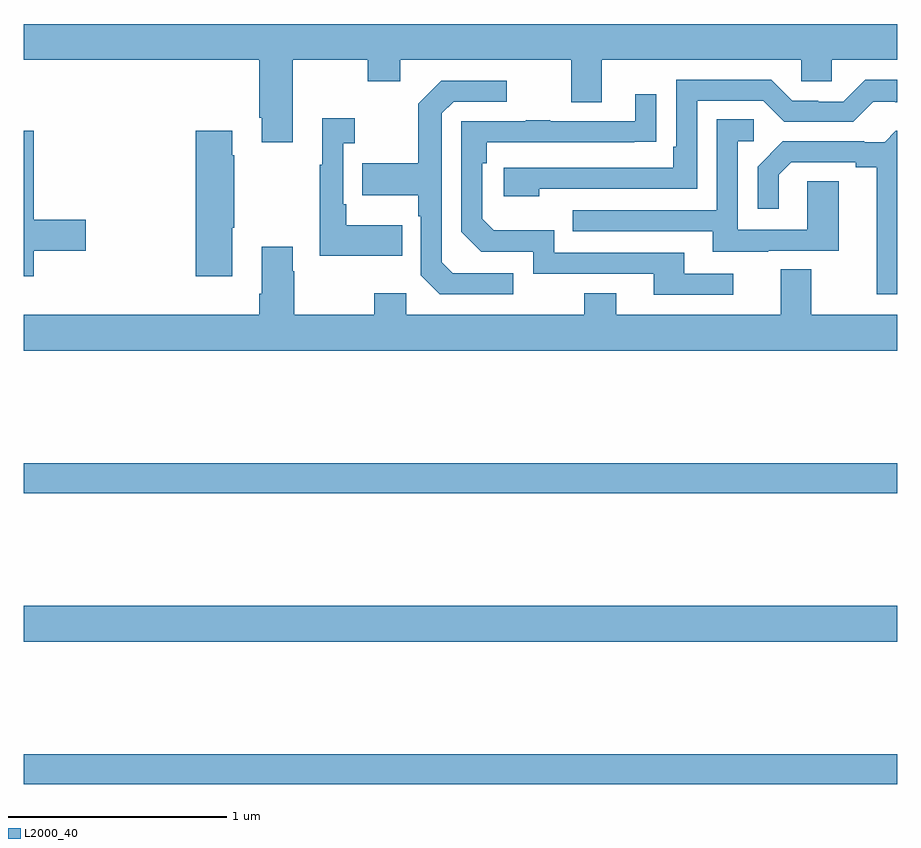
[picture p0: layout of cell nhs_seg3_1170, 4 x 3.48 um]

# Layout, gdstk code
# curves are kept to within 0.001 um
import gdstk
lib = gdstk.Library(unit=1e-6, precision=1e-09)
def R(c, l, rs):  # rectangles x0, y0, x1, y1
    for r in rs: c.add(gdstk.rectangle(r[:2], r[2:], *l))
def P(c, l, *ps):  # polygons
    for p in ps: c.add(gdstk.Polygon(p, *l))
L2000_40 = (2000, 40)

nhs_seg3_1170 = lib.new_cell('nhs_seg3_1170')
R(nhs_seg3_1170, L2000_40, [(171,726.904,175,727.04), (171,727.556,175,727.72), (171,728.236,175,728.372)])
P(nhs_seg3_1170, L2000_40, [(172.231,730.22),(172.576,730.22),(172.576,730.121),(172.723,730.121),(172.723,730.22),(173.507,730.22),(173.507,730.026),(173.647,730.026),(173.647,730.22),(174.561,730.22),(174.561,730.122),(174.699,730.122),(174.699,730.22),(175,730.22),(175,730.384),(171,730.384),(171,730.22),(172.079,730.22),(172.079,729.955),(172.091,729.955),(172.091,729.843),(172.231,729.843)],
  [(173.36,729.63),(174.084,729.63),(174.084,730.032),(174.387,730.032),(174.483,729.936),(174.798,729.936),(174.891,730.029),(174.991,730.029),(174.991,730.025),(175,730.025),(175,730.129),(174.853,730.129),(174.753,730.029),(174.638,730.029),(174.638,730.032),(174.519,730.032),(174.423,730.128),(173.988,730.128),(173.988,729.823),(173.975,729.823),(173.975,729.726),(173.199,729.726),(173.199,729.596),(173.36,729.596)],
  [(173.242,729.243),(172.965,729.243),(172.914,729.294),(172.914,729.975),(172.968,730.029),(173.212,730.029),(173.212,730.125),(172.911,730.125),(172.806,730.019),(172.806,729.747),(172.549,729.747),(172.549,729.599),(172.806,729.599),(172.806,729.503),(172.818,729.503),(172.818,729.234),(172.905,729.147),(173.242,729.147)],
  [(174.25,729.24),(174.025,729.24),(174.025,729.336),(173.43,729.336),(173.43,729.439),(173.153,729.439),(173.1,729.492),(173.1,729.746),(173.12,729.746),(173.12,729.843),(173.897,729.844),(173.897,730.063),(173.801,730.063),(173.801,729.939),(173.411,729.939),(173.411,729.944),(173.299,729.944),(173.299,729.939),(173.004,729.939),(173.004,729.432),(173.094,729.342),(173.334,729.342),(173.334,729.24),(173.885,729.24),(173.885,729.144),(174.25,729.144)],
  [(172.733,729.463),(172.477,729.463),(172.477,729.559),(172.464,729.559),(172.464,729.839),(172.516,729.839),(172.516,729.952),(172.367,729.952),(172.367,729.739),(172.356,729.739),(172.356,729.323),(172.733,729.323)],
  [(174.409,729.345),(174.733,729.345),(174.733,729.665),(174.588,729.665),(174.588,729.441),(174.27,729.441),(174.27,729.846),(174.343,729.846),(174.343,729.947),(174.174,729.947),(174.174,729.531),(173.515,729.531),(173.515,729.435),(174.155,729.435),(174.155,729.341),(174.409,729.341)],
  [(171.955,729.451),(171.963,729.451),(171.963,729.782),(171.955,729.782),(171.955,729.895),(171.788,729.895),(171.788,729.228),(171.955,729.228)],
  [(171.047,729.346),(171.283,729.346),(171.283,729.488),(171.047,729.488),(171.047,729.895),(171,729.895),(171,729.228),(171.047,729.228)],
  [(175,729.895),(174.994,729.895),(174.942,729.843),(174.848,729.843),(174.848,729.846),(174.476,729.846),(174.36,729.73),(174.36,729.537),(174.457,729.537),(174.457,729.693),(174.514,729.75),(174.809,729.75),(174.809,729.728),(174.905,729.728),(174.905,729.147),(175,729.147)],
  [(175,729.052),(174.607,729.052),(174.607,729.26),(174.467,729.26),(174.467,729.052),(173.713,729.052),(173.713,729.151),(173.566,729.151),(173.566,729.052),(172.752,729.052),(172.752,729.151),(172.606,729.151),(172.606,729.052),(172.239,729.052),(172.239,729.251),(172.231,729.251),(172.231,729.364),(172.091,729.364),(172.091,729.148),(172.079,729.148),(172.079,729.052),(171,729.052),(171,728.888),(175,728.888)])

lib.write_gds('nhs_seg3_1170.gds')
